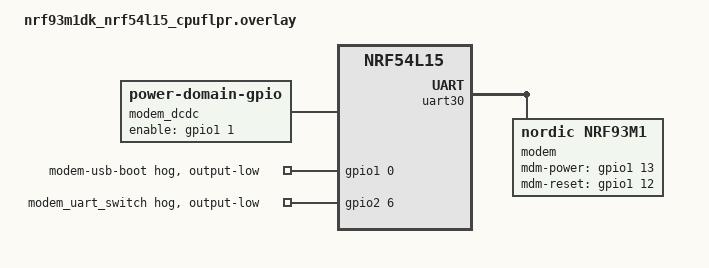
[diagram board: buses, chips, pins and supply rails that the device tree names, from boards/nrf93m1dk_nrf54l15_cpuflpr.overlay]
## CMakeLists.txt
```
#
# Copyright (c) 2026 Nordic Semiconductor ASA
#
# SPDX-License-Identifier: LicenseRef-Nordic-5-Clause
#

cmake_minimum_required(VERSION 3.20.0)

find_package(Zephyr REQUIRED HINTS $ENV{ZEPHYR_BASE})
project(modem_bypass)

# NORDIC SDK APP START
target_sources(app PRIVATE src/main.c)
# NORDIC SDK APP END
```

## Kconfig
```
#
# Copyright (c) 2026 Nordic Semiconductor
#
# SPDX-License-Identifier: LicenseRef-Nordic-5-Clause
#

source "Kconfig.zephyr"
```

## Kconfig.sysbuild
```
#
# Copyright (c) 2026 Nordic Semiconductor
#
# SPDX-License-Identifier: LicenseRef-Nordic-5-Clause
#

#
# Support building a modem_bypass combined with
# radio_test application for nRF93M1 DK
#

if BOARD_NRF93M1DK_NRF54L15_CPUFLPR

config SUPPORT_APPCORE
	default y

choice APPCORE
	default APPCORE_RADIO_TEST

config APPCORE_RADIO_TEST
	bool "Radio test application"
	depends on !VPR_LAUNCHER
	help
	  Build the radio_test application for the application core.

endchoice

config APPCORE_IMAGE_NAME
	default "radio_test" if APPCORE_RADIO_TEST

config APPCORE_IMAGE_PATH
	default "${ZEPHYR_NRF_MODULE_DIR}/samples/peripheral/radio_test" if APPCORE_RADIO_TEST

endif # BOARD_NRF93M1DK_NRF54L15_CPUFLPR

source "share/sysbuild/Kconfig"
```

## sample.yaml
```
sample:
  name: nRF93M1 DK modem bypass
  description: |
    Sample that puts the nRF93M1 modem UART in bypass mode, forwarding it to
    the USB CDC-ACM VCOM port for direct AT command access from a host PC.
tests:
  sample.nrf93m1dk.modem_bypass:
    sysbuild: true
    build_only: true
    integration_platforms:
      - nrf93m1dk/nrf54l15/cpuapp
    platform_allow:
      - nrf93m1dk/nrf54l15/cpuapp
    tags:
      - ci_build
      - ci_samples_nrf93m1dk

  sample.nrf93m1dk.modem_bypass.radio_test:
    sysbuild: true
    build_only: true
    extra_args:
      - SB_CONFIG_VPR_LAUNCHER=n
      - SB_CONFIG_APPCORE_RADIO_TEST=y
      - radio_test_SNIPPET="nordic-flpr"
    integration_platforms:
      - nrf93m1dk/nrf54l15/cpuflpr
    platform_allow:
      - nrf93m1dk/nrf54l15/cpuflpr
    tags:
      - ci_build
      - ci_samples_nrf93m1dk
```

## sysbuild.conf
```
#
# Copyright (c) 2026 Nordic Semiconductor
#
# SPDX-License-Identifier: LicenseRef-Nordic-5-Clause
#

SB_CONFIG_PARTITION_MANAGER=n
```

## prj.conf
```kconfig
# Copyright (c) 2026 Nordic Semiconductor ASA
#
# SPDX-License-Identifier: LicenseRef-Nordic-5-Clause
#

CONFIG_I2C=y
CONFIG_INPUT=y
CONFIG_PM_DEVICE=y
CONFIG_PM_DEVICE_RUNTIME=y
CONFIG_PM_DEVICE_RUNTIME_DEFAULT_ENABLE=y
CONFIG_APPLICATION_INIT_PRIORITY=93
```

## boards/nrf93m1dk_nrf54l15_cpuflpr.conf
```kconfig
# Copyright (c) 2026 Nordic Semiconductor ASA
#
# SPDX-License-Identifier: LicenseRef-Nordic-5-Clause
#

CONFIG_TIMEOUT_64BIT=y
CONFIG_POWER_DOMAIN=y
CONFIG_PM_DEVICE_POWER_DOMAIN=y
CONFIG_GPIO=y
CONFIG_APPLICATION_INIT_PRIORITY=93
CONFIG_SERIAL=n
CONFIG_UART_CONSOLE=n
```

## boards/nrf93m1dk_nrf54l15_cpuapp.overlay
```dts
/*
 * Copyright (c) 2026 Nordic Semiconductor ASA
 *
 * SPDX-License-Identifier: LicenseRef-Nordic-5-Clause
 */

/* Switch control have pull-down that defaults to bypass mode, so delete the control GPIO */
/delete-node/ &modem_uart_switch;

&modem {
	status = "okay";
};

&modem_dcdc {
	startup-delay-us = <500000>; /* wait for 500ms to stabilize dcdc supply */
};
```

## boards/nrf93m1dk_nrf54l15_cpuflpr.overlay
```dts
/*
 * Copyright (c) 2026 Nordic Semiconductor ASA
 *
 * SPDX-License-Identifier: LicenseRef-Nordic-5-Clause
 */

/*
 * This overlay defines modem and DCDC power domain for the FLPR core.
 * These are only defined for the application core in the Zephyr board files
 */

/ {
	modem_dcdc: modem_dcdc {
		compatible = "power-domain-gpio";
		enable-gpios = <&gpio1 1 GPIO_ACTIVE_HIGH>;
		#power-domain-cells = <0>;
		startup-delay-us = <100000>; /* wait for 100ms to stabilize dcdc supply */
		off-on-delay-us = <500000>; /* wait for 500ms to stabilize main supply */
	};
};

&gpio1 {
	status = "okay";

	modem-usb-boot {
		gpio-hog;
		gpios = <0 GPIO_ACTIVE_HIGH>;
		output-low;
	};
};

&gpio2 {
	status = "okay";

	modem_uart_switch: modem-uart-switch {
		gpio-hog;
		gpios = <6 GPIO_ACTIVE_HIGH>;
		output-low;
	};
};

&uart30 {
	modem: modem {
		status = "okay";
		compatible = "nordic,nrf93m1";
		power-domains = <&modem_dcdc>;
		mdm-power-gpios = <&gpio1 13 GPIO_ACTIVE_HIGH>;
		mdm-reset-gpios = <&gpio1 12 GPIO_ACTIVE_HIGH>;
	};
};
```

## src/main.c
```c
/*
 * Copyright (c) 2026 Nordic Semiconductor ASA
 *
 * SPDX-License-Identifier: LicenseRef-Nordic-5-Clause
 */

#include <string.h>
#include <stdbool.h>
#include <stdint.h>
#include <stddef.h>
#include <ctype.h>
#include <stdio.h>
#include <zephyr/drivers/gpio.h>
#include <zephyr/device.h>
#include <zephyr/drivers/uart.h>
#include <zephyr/kernel.h>
#include <zephyr/input/input.h>
#include <zephyr/sys/util.h>
#include <zephyr/pm/pm.h>
#include <zephyr/pm/device.h>
#include <zephyr/pm/device_runtime.h>

#define MODEM_NODE		DT_NODELABEL(modem)
#define MODEM_DCDC_NODE		DT_NODELABEL(modem_dcdc)
#define DELAY_MODEM_POWERKEY	K_MSEC(200)
#define DELAY_MODEM_BOOT	K_MSEC(100)

/* The devicetree node identifier for the LED alias. */
#define LED0_NODE DT_ALIAS(led0)

static const struct gpio_dt_spec led_blue = GPIO_DT_SPEC_GET(LED0_NODE, gpios);

static const struct gpio_dt_spec modem_powerkey_gpio =
	GPIO_DT_SPEC_GET(MODEM_NODE, mdm_power_gpios);
static const struct gpio_dt_spec modem_rst_gpio =
	GPIO_DT_SPEC_GET(MODEM_NODE, mdm_reset_gpios);

static void modem_reset(void)
{
	if (!gpio_is_ready_dt(&modem_rst_gpio)) {
		return;
	}
	gpio_pin_set_dt(&modem_rst_gpio, 1);
	k_sleep(K_MSEC(100));
	gpio_pin_set_dt(&modem_rst_gpio, 0);
}

static void button_handler(struct input_event *evt, void *user_data)
{
	if (evt->type == INPUT_EV_KEY && evt->code == INPUT_KEY_0 && evt->value == 1) {
		modem_reset();
	} else if (evt->type == INPUT_EV_KEY && evt->code == INPUT_KEY_1) {
		gpio_pin_set_dt(&modem_powerkey_gpio, evt->value ? 1 : 0);
	}
}

INPUT_CALLBACK_DEFINE(NULL, button_handler, NULL);

int main(void)
{
	printf("Modem_Bypass on %s\n", CONFIG_BOARD_TARGET);
	printf("Build on %s %s\n", __DATE__, __TIME__);

	/* LED4 blue */
	gpio_pin_configure_dt(&led_blue, GPIO_OUTPUT_ACTIVE);

	/* Keep GPIO active */
	pm_device_runtime_get(DEVICE_DT_GET(DT_PARENT(DT_NODELABEL(button0))));
	pm_device_runtime_get(DEVICE_DT_GET(DT_PARENT(DT_NODELABEL(button1))));
	return 0;
}

static void modem_boot_work(struct k_work *work);

struct {
	enum {
		ACTIVATE_PWRKEY,
		DEACTIVATE_PWRKEY,
		DONE
	} state;
	struct k_work_delayable dwork;
} static nrf93_pwr_state_data = {
	.state = ACTIVATE_PWRKEY,
	.dwork = Z_WORK_DELAYABLE_INITIALIZER(modem_boot_work),
};

static void modem_boot_work(struct k_work *work)
{
	int ret = 0;

	switch (nrf93_pwr_state_data.state) {
	case ACTIVATE_PWRKEY:
		pm_device_runtime_get(DEVICE_DT_GET(MODEM_NODE));
		ret = gpio_pin_configure_dt(&modem_powerkey_gpio, GPIO_OUTPUT_ACTIVE);
		nrf93_pwr_state_data.state = DEACTIVATE_PWRKEY;
		k_work_reschedule(&nrf93_pwr_state_data.dwork, DELAY_MODEM_POWERKEY);
		break;
	case DEACTIVATE_PWRKEY:
		ret = gpio_pin_set_dt(&modem_powerkey_gpio, 0);
		nrf93_pwr_state_data.state = DONE;
		break;
	default:
		return;
	}

	if (ret < 0) {
		printf("Failed to set modem GPIO: %d\n", ret);
	}
}

static int power_modem_on_boot(void)
{
	int ret;

	ret = gpio_pin_configure_dt(&modem_rst_gpio, GPIO_OUTPUT_INACTIVE);
	if (ret < 0) {
		printf("Failed to set modem GPIO: %d\n", ret);
		return ret;
	}
	ret = gpio_pin_configure_dt(&modem_powerkey_gpio, GPIO_OUTPUT_INACTIVE);
	if (ret < 0) {
		printf("Failed to set modem GPIO: %d\n", ret);
		return ret;
	}
	k_work_schedule(&nrf93_pwr_state_data.dwork, DELAY_MODEM_BOOT);
	return 0;
}
SYS_INIT(power_modem_on_boot, APPLICATION, CONFIG_APPLICATION_INIT_PRIORITY);

/*
 * Dummy Modem drivers to allow power-domain drivers to work
 */

int dev_pm_control(const struct device *dev, enum pm_device_action action)
{
	ARG_UNUSED(dev);
	ARG_UNUSED(action);

	return 0;
}

static int modem_init(const struct device *dev)
{
	pm_device_init_suspended(dev);
	pm_device_runtime_enable(dev);

	return 0;
}

PM_DEVICE_DT_DEFINE(MODEM_NODE, dev_pm_control);
DEVICE_DT_DEFINE(MODEM_NODE, modem_init, PM_DEVICE_DT_GET(MODEM_NODE),
		 NULL, NULL, POST_KERNEL, CONFIG_APPLICATION_INIT_PRIORITY, NULL);
```
